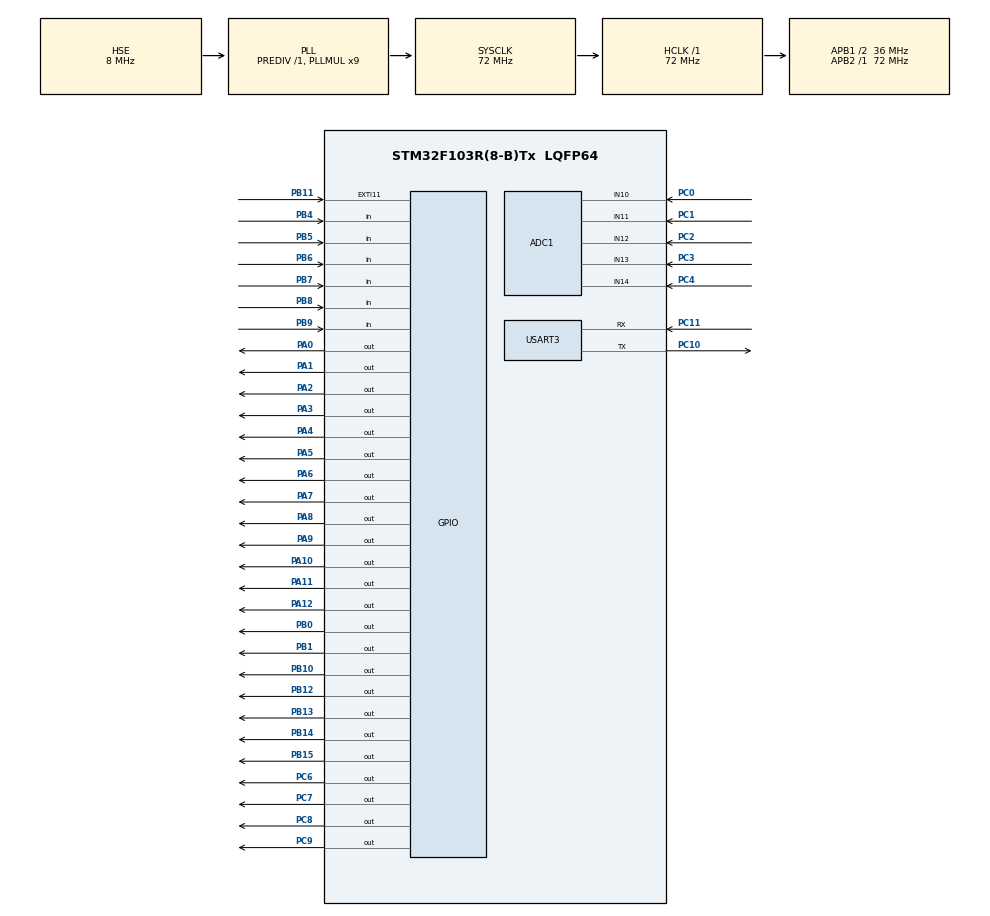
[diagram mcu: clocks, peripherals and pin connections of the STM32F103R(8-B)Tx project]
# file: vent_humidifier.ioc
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ADC1.Channel-0\#ChannelRegularConversion=ADC_CHANNEL_10
ADC1.DataAlign=ADC_DATAALIGN_RIGHT
ADC1.NbrOfConversionFlag=1
ADC1.Rank-0\#ChannelRegularConversion=1
ADC1.SamplingTime-0\#ChannelRegularConversion=ADC_SAMPLETIME_71CYCLES_5
ADC1.master=1
Mcu.Family=STM32F1
Mcu.Name=STM32F103R(8-B)Tx
Mcu.Package=LQFP64
NVIC.EXTI15_10_IRQn=true\:0\:0\:false\:false\:true\:true\:true
NVIC.PriorityGroup=NVIC_PRIORITYGROUP_4
NVIC.TIM2_IRQn=true\:0\:0\:false\:false\:true\:true\:true
NVIC.USART3_IRQn=true\:0\:0\:false\:false\:true\:true\:true
PA0-WKUP.Signal=GPIO_Output
PA1.Signal=GPIO_Output
PA10.Signal=GPIO_Output
PA11.Signal=GPIO_Output
PA12.Signal=GPIO_Output
PA13.Signal=SYS_JTMS-SWDIO
PA14.Signal=SYS_JTCK-SWCLK
PA2.Signal=GPIO_Output
PA3.Signal=GPIO_Output
PA4.Signal=GPIO_Output
PA5.Signal=GPIO_Output
PA6.Signal=GPIO_Output
PA7.Signal=GPIO_Output
PA8.Signal=GPIO_Output
PA9.Signal=GPIO_Output
PB0.Signal=GPIO_Output
PB1.Signal=GPIO_Output
PB10.Signal=GPIO_Output
PB11.GPIO_ModeDefaultEXTI=GPIO_MODE_IT_RISING
PB11.Signal=GPXTI11
PB12.Signal=GPIO_Output
PB13.Signal=GPIO_Output
PB14.Signal=GPIO_Output
PB15.Signal=GPIO_Output
PB3.Signal=SYS_JTDO-TRACESWO
PB4.Signal=GPIO_Input
PB5.Signal=GPIO_Input
PB6.Signal=GPIO_Input
PB7.Signal=GPIO_Input
PB8.Signal=GPIO_Input
PB9.Signal=GPIO_Input
PC0.Signal=ADCx_IN10
PC1.Signal=ADCx_IN11
PC10.Mode=Asynchronous
PC10.Signal=USART3_TX
PC11.Mode=Asynchronous
PC11.Signal=USART3_RX
PC2.Signal=ADCx_IN12
PC3.Signal=ADCx_IN13
PC4.Signal=ADCx_IN14
PC6.Signal=GPIO_Output
PC7.Signal=GPIO_Output
PC8.Signal=GPIO_Output
PC9.Signal=GPIO_Output
PD0-OSC_IN.Mode=HSE-External-Oscillator
PD0-OSC_IN.Signal=RCC_OSC_IN
PD1-OSC_OUT.Mode=HSE-External-Oscillator
PD1-OSC_OUT.Signal=RCC_OSC_OUT
ProjectManager.HeapSize=0x200
ProjectManager.StackSize=0x400
ProjectManager.TargetToolchain=STM32CubeIDE
RCC.ADCPresc=RCC_ADCPCLK2_DIV6
RCC.AHBFreq_Value=72000000
RCC.APB1CLKDivider=RCC_HCLK_DIV2
RCC.APB1Freq_Value=36000000
RCC.APB1TimFreq_Value=72000000
RCC.APB2Freq_Value=72000000
RCC.APB2TimFreq_Value=72000000
RCC.HCLKFreq_Value=72000000
RCC.PLLMUL=RCC_PLL_MUL9
RCC.PLLSourceVirtual=RCC_PLLSOURCE_HSE
RCC.SYSCLKFreq_VALUE=72000000
RCC.SYSCLKSource=RCC_SYSCLKSOURCE_PLLCLK
RCC.USBFreq_Value=72000000
SH.ADCx_IN10.0=ADC1_IN10,IN10
SH.ADCx_IN11.0=ADC1_IN11,IN11
SH.ADCx_IN12.0=ADC1_IN12,IN12
SH.ADCx_IN13.0=ADC1_IN13,IN13
SH.ADCx_IN14.0=ADC1_IN14,IN14
TIM2.AutoReloadPreload=TIM_AUTORELOAD_PRELOAD_ENABLE
TIM2.Period=1000
TIM2.Prescaler=71
USART3.VirtualMode=VM_ASYNC
VP_RTC_VS_RTC_Activate.Mode=RTC_Enabled
VP_SYS_VS_ND.Mode=No_Debug
VP_TIM2_VS_ClockSourceINT.Mode=Internal
board=custom

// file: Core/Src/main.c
/* USER CODE BEGIN Header */
/**
  ******************************************************************************
  * @file           : main.c
  * @brief          : Main program body
  ******************************************************************************
  * @attention
  *
  * <h2><center>&copy; Copyright (c) 2021 STMicroelectronics.
  * All rights reserved.</center></h2>
  *
  * This software component is licensed by ST under BSD 3-Clause license,
  * the "License"; You may not use this file except in compliance with the
  * License. You may obtain a copy of the License at:
  *                        opensource.org/licenses/BSD-3-Clause
  *
  ******************************************************************************
  */
/* USER CODE END Header */
#include "main.h"

/* USER CODE BEGIN Includes */
#include "stdint.h"
#include "stdio.h"
#include "string.h"
#include "project_defines.h"
#include "MT_display_7_segmentos.h"
#include "temperature_measurement.h"
#include "display_interface.h"
#include "vent_humidifier.h"
/* USER CODE END Includes */

ADC_HandleTypeDef hadc1;

RTC_HandleTypeDef hrtc;

TIM_HandleTypeDef htim2;

UART_HandleTypeDef huart3;

/* USER CODE BEGIN PV */

ADC_ChannelConfTypeDef sConfig = {0};

float my_kp = 0.0;
float my_ki = 0.0;
float my_kd = 0.0;
float my_setpoint = 0.0;
float wire_setpoint = 0.0;

uint8_t uart_tx_buffer[UART_TX_BUFFER_SIZE];
volatile uint8_t uart_rx_buffer[UART_RX_BUFFER_SIZE];
volatile uint8_t uart_rx_individual_buffer;

/* USER CODE END PV */

void SystemClock_Config(void);
static void MX_GPIO_Init(void);
static void MX_ADC1_Init(void);
static void MX_RTC_Init(void);
static void MX_USART3_UART_Init(void);
static void MX_TIM2_Init(void);

int main(void)
{

  /* MCU Configuration--------------------------------------------------------*/

  /* Reset of all peripherals, Initializes the Flash interface and the Systick. */
  HAL_Init();

  /* Configure the system clock */
  SystemClock_Config();

  /* Initialize all configured peripherals */
  MX_GPIO_Init();
  MX_ADC1_Init();
  MX_RTC_Init();
  MX_USART3_UART_Init();
  MX_TIM2_Init();
  /* USER CODE BEGIN 2 */
  __disable_irq();
  System_Initialize();
  HAL_UART_Receive_IT(&huart3, (uint8_t *)&uart_rx_individual_buffer, 1);
  __enable_irq();

  /* USER CODE END 2 */

  /* Infinite loop */
  /* USER CODE BEGIN WHILE */
  while (1)
  {
	  System_Sequence();

    /* USER CODE END WHILE */

  }
}

void SystemClock_Config(void)
{
  RCC_OscInitTypeDef RCC_OscInitStruct = {0};
  RCC_ClkInitTypeDef RCC_ClkInitStruct = {0};
  RCC_PeriphCLKInitTypeDef PeriphClkInit = {0};

  /** Initializes the RCC Oscillators according to the specified parameters
  * in the RCC_OscInitTypeDef structure.
  */
  RCC_OscInitStruct.OscillatorType = RCC_OSCILLATORTYPE_LSI|RCC_OSCILLATORTYPE_HSE;
  RCC_OscInitStruct.HSEState = RCC_HSE_ON;
  RCC_OscInitStruct.HSEPredivValue = RCC_HSE_PREDIV_DIV1;
  RCC_OscInitStruct.HSIState = RCC_HSI_ON;
  RCC_OscInitStruct.LSIState = RCC_LSI_ON;
  RCC_OscInitStruct.PLL.PLLState = RCC_PLL_ON;
  RCC_OscInitStruct.PLL.PLLSource = RCC_PLLSOURCE_HSE;
  RCC_OscInitStruct.PLL.PLLMUL = RCC_PLL_MUL9;
  if (HAL_RCC_OscConfig(&RCC_OscInitStruct) != HAL_OK)
  {
    Error_Handler();
  }
  /** Initializes the CPU, AHB and APB buses clocks
  */
  RCC_ClkInitStruct.ClockType = RCC_CLOCKTYPE_HCLK|RCC_CLOCKTYPE_SYSCLK
                              |RCC_CLOCKTYPE_PCLK1|RCC_CLOCKTYPE_PCLK2;
  RCC_ClkInitStruct.SYSCLKSource = RCC_SYSCLKSOURCE_PLLCLK;
  RCC_ClkInitStruct.AHBCLKDivider = RCC_SYSCLK_DIV1;
  RCC_ClkInitStruct.APB1CLKDivider = RCC_HCLK_DIV2;
  RCC_ClkInitStruct.APB2CLKDivider = RCC_HCLK_DIV1;

  if (HAL_RCC_ClockConfig(&RCC_ClkInitStruct, FLASH_LATENCY_2) != HAL_OK)
  {
    Error_Handler();
  }
  PeriphClkInit.PeriphClockSelection = RCC_PERIPHCLK_RTC|RCC_PERIPHCLK_ADC;
  PeriphClkInit.RTCClockSelection = RCC_RTCCLKSOURCE_LSI;
  PeriphClkInit.AdcClockSelection = RCC_ADCPCLK2_DIV6;
  if (HAL_RCCEx_PeriphCLKConfig(&PeriphClkInit) != HAL_OK)
  {
    Error_Handler();
  }
}

static void MX_ADC1_Init(void)
{

  //ADC_ChannelConfTypeDef sConfig = {0};

  /** Common config
  */
  hadc1.Instance = ADC1;
  hadc1.Init.ScanConvMode = ADC_SCAN_DISABLE;
  hadc1.Init.ContinuousConvMode = DISABLE;
  hadc1.Init.DiscontinuousConvMode = DISABLE;
  hadc1.Init.ExternalTrigConv = ADC_SOFTWARE_START;
  hadc1.Init.DataAlign = ADC_DATAALIGN_RIGHT;
  hadc1.Init.NbrOfConversion = 1;
  if (HAL_ADC_Init(&hadc1) != HAL_OK)
  {
    Error_Handler();
  }
  /** Configure Regular Channel
  */
  sConfig.Channel = ADC_CHANNEL_10;
  sConfig.Rank = ADC_REGULAR_RANK_1;
  sConfig.SamplingTime = ADC_SAMPLETIME_71CYCLES_5;
  if (HAL_ADC_ConfigChannel(&hadc1, &sConfig) != HAL_OK)
  {
    Error_Handler();
  }

}

static void MX_RTC_Init(void)
{

  /** Initialize RTC Only
  */
  hrtc.Instance = RTC;
  hrtc.Init.AsynchPrediv = RTC_AUTO_1_SECOND;
  hrtc.Init.OutPut = RTC_OUTPUTSOURCE_ALARM;
  if (HAL_RTC_Init(&hrtc) != HAL_OK)
  {
    Error_Handler();
  }

}

static void MX_TIM2_Init(void)
{

  TIM_ClockConfigTypeDef sClockSourceConfig = {0};
  TIM_MasterConfigTypeDef sMasterConfig = {0};

  htim2.Instance = TIM2;
  htim2.Init.Prescaler = 71;
  htim2.Init.CounterMode = TIM_COUNTERMODE_UP;
  htim2.Init.Period = 1000;
  htim2.Init.ClockDivision = TIM_CLOCKDIVISION_DIV1;
  htim2.Init.AutoReloadPreload = TIM_AUTORELOAD_PRELOAD_ENABLE;
  if (HAL_TIM_Base_Init(&htim2) != HAL_OK)
  {
    Error_Handler();
  }
  sClockSourceConfig.ClockSource = TIM_CLOCKSOURCE_INTERNAL;
  if (HAL_TIM_ConfigClockSource(&htim2, &sClockSourceConfig) != HAL_OK)
  {
    Error_Handler();
  }
  sMasterConfig.MasterOutputTrigger = TIM_TRGO_RESET;
  sMasterConfig.MasterSlaveMode = TIM_MASTERSLAVEMODE_DISABLE;
  if (HAL_TIMEx_MasterConfigSynchronization(&htim2, &sMasterConfig) != HAL_OK)
  {
    Error_Handler();
  }

}

static void MX_USART3_UART_Init(void)
{

  huart3.Instance = USART3;
  huart3.Init.BaudRate = 115200;
  huart3.Init.WordLength = UART_WORDLENGTH_8B;
  huart3.Init.StopBits = UART_STOPBITS_1;
  huart3.Init.Parity = UART_PARITY_NONE;
  huart3.Init.Mode = UART_MODE_TX_RX;
  huart3.Init.HwFlowCtl = UART_HWCONTROL_NONE;
  huart3.Init.OverSampling = UART_OVERSAMPLING_16;
  if (HAL_UART_Init(&huart3) != HAL_OK)
  {
    Error_Handler();
  }

}

static void MX_GPIO_Init(void)
{
  GPIO_InitTypeDef GPIO_InitStruct = {0};

  /* GPIO Ports Clock Enable */
  __HAL_RCC_GPIOD_CLK_ENABLE();
  __HAL_RCC_GPIOC_CLK_ENABLE();
  __HAL_RCC_GPIOA_CLK_ENABLE();
  __HAL_RCC_GPIOB_CLK_ENABLE();

  /*Configure GPIO pin Output Level */
  HAL_GPIO_WritePin(GPIOA, GPIO_PIN_0|GPIO_PIN_1|GPIO_PIN_2|GPIO_PIN_3
                          |GPIO_PIN_4|GPIO_PIN_5|GPIO_PIN_6|GPIO_PIN_7
                          |GPIO_PIN_8|GPIO_PIN_9|GPIO_PIN_10|GPIO_PIN_11
                          |GPIO_PIN_12, GPIO_PIN_RESET);

  /*Configure GPIO pin Output Level */
  HAL_GPIO_WritePin(GPIOB, GPIO_PIN_0|GPIO_PIN_1|GPIO_PIN_10|GPIO_PIN_12
                          |GPIO_PIN_13|GPIO_PIN_14|GPIO_PIN_15, GPIO_PIN_RESET);

  /*Configure GPIO pin Output Level */
  HAL_GPIO_WritePin(GPIOC, GPIO_PIN_6|GPIO_PIN_7|GPIO_PIN_8|GPIO_PIN_9, GPIO_PIN_RESET);

  /*Configure GPIO pins : PA0 PA1 PA2 PA3
                           PA4 PA5 PA6 PA7
                           PA8 PA9 PA10 PA11
                           PA12 */
  GPIO_InitStruct.Pin = GPIO_PIN_0|GPIO_PIN_1|GPIO_PIN_2|GPIO_PIN_3
                          |GPIO_PIN_4|GPIO_PIN_5|GPIO_PIN_6|GPIO_PIN_7
                          |GPIO_PIN_8|GPIO_PIN_9|GPIO_PIN_10|GPIO_PIN_11
                          |GPIO_PIN_12;
  GPIO_InitStruct.Mode = GPIO_MODE_OUTPUT_PP;
  GPIO_InitStruct.Pull = GPIO_NOPULL;
  GPIO_InitStruct.Speed = GPIO_SPEED_FREQ_LOW;
  HAL_GPIO_Init(GPIOA, &GPIO_InitStruct);

  /*Configure GPIO pins : PB0 PB1 PB10 PB12
                           PB13 PB14 PB15 */
  GPIO_InitStruct.Pin = GPIO_PIN_0|GPIO_PIN_1|GPIO_PIN_10|GPIO_PIN_12
                          |GPIO_PIN_13|GPIO_PIN_14|GPIO_PIN_15;
  GPIO_InitStruct.Mode = GPIO_MODE_OUTPUT_PP;
  GPIO_InitStruct.Pull = GPIO_NOPULL;
  GPIO_InitStruct.Speed = GPIO_SPEED_FREQ_LOW;
  HAL_GPIO_Init(GPIOB, &GPIO_InitStruct);

  /*Configure GPIO pin : PB11 */
  GPIO_InitStruct.Pin = GPIO_PIN_11;
  GPIO_InitStruct.Mode = GPIO_MODE_IT_RISING;
  GPIO_InitStruct.Pull = GPIO_NOPULL;
  HAL_GPIO_Init(GPIOB, &GPIO_InitStruct);

  /*Configure GPIO pins : PC6 PC7 PC8 PC9 */
  GPIO_InitStruct.Pin = GPIO_PIN_6|GPIO_PIN_7|GPIO_PIN_8|GPIO_PIN_9;
  GPIO_InitStruct.Mode = GPIO_MODE_OUTPUT_PP;
  GPIO_InitStruct.Pull = GPIO_NOPULL;
  GPIO_InitStruct.Speed = GPIO_SPEED_FREQ_LOW;
  HAL_GPIO_Init(GPIOC, &GPIO_InitStruct);

  /*Configure GPIO pins : PB4 PB5 PB6 PB7
                           PB8 PB9 */
  GPIO_InitStruct.Pin = GPIO_PIN_4|GPIO_PIN_5|GPIO_PIN_6|GPIO_PIN_7
                          |GPIO_PIN_8|GPIO_PIN_9;
  GPIO_InitStruct.Mode = GPIO_MODE_INPUT;
  GPIO_InitStruct.Pull = GPIO_NOPULL;
  HAL_GPIO_Init(GPIOB, &GPIO_InitStruct);

  /* EXTI interrupt init*/
  HAL_NVIC_SetPriority(EXTI15_10_IRQn, 0, 0);
  HAL_NVIC_EnableIRQ(EXTI15_10_IRQn);

}

/* USER CODE BEGIN 4 */
void HAL_TIM_PeriodElapsedCallback(TIM_HandleTypeDef *htim){

	static uint32_t new_measure_count_1ms = 0;
	static uint32_t display_update_count_1ms = 0;
	static uint32_t check_rtd_input_volt_count_1ms = 0;
	static uint32_t one_second_elapsed_counter_1ms = 0;
	static uint32_t button_scan_counter_1ms = 0;
	static uint32_t pwm_step_time_counter_1ms = 0;
	static uint32_t check_heater_plate_temp_count_1ms = 0;
	static uint32_t check_heater_plate_circuit_count_ms = 0;
	static uint32_t check_heater_wire_circuit_count_ms = 0;
	static uint32_t alarm_update_counter_ms = 0;

	/* Indicate that 1 ms has elapsed */
	system_flags |= (1 << ONE_MILLISECOND_ELAPSED_FLAG);

	/*Manage display enables every  1ms */
	Display_Gestionar_Habilitadores();

	/* Measure current feedback every 1 ms */
	system_flags |= (1 << HEATER_PLATE_FEEDBACK_FLAG);

	/* Update alarm every 100 ms */
	alarm_update_counter_ms++;
	if(alarm_update_counter_ms >= ALARM_UPDATE_PERIOD_MS){
		alarm_update_counter_ms = 0;
		system_flags |= (1 << ALARM_UPDATE_FLAG);
	}

	/* Verify that the heater plate circuit is working properly every 5 second */
	check_heater_plate_circuit_count_ms++;
	if(check_heater_plate_circuit_count_ms >= CHECK_HEATER_PLATE_CIRCUIT_PERIOD_MS){
		check_heater_plate_circuit_count_ms = 0;
		system_flags |= (1 << CHECK_HEATER_PLATE_CIRCUIT_FLAG);
	}

	/* Measure temperature every 100 ms */
	new_measure_count_1ms++;
	if(new_measure_count_1ms >= TEMP_SAMPLE_PERIOD_MS){
		new_measure_count_1ms = 0;
		system_flags |= (1 << NEW_MEASURE_FLAG);
	}

	/* Verify that the heater wire circuit is working properly every 10 second */
	check_heater_wire_circuit_count_ms++;
	if(check_heater_wire_circuit_count_ms >= CHECK_HEATER_WIRE_CIRCUIT_PERIOD_MS){
		check_heater_wire_circuit_count_ms = 0;
		system_flags |= (1 << CHECK_HEATER_WIRE_CIRCUIT_FLAG);
	}

	/* Scan buttons every 10 ms */
	button_scan_counter_1ms++;
	if(button_scan_counter_1ms >= BUTTON_SCAN_PERIOD_MS){
		button_scan_counter_1ms = 0;
		G1_Button_Scan();
		system_flags |= (1 << BUTTON_READ_FLAG);
	}

	/* Update PWM signal for Wires */
	pwm_step_time_counter_1ms++;
	if(pwm_step_time_counter_1ms >= PWM_STEP_TIME_MS){
		pwm_step_time_counter_1ms = 0;
		Heater_Wire_01_Manager();
		Heater_Wire_02_Manager();
	}

	/* Update display every 100 ms */
	display_update_count_1ms++;
	if(display_update_count_1ms >= DISPLAY_UPDATE_PERIOD_MS){
		display_update_count_1ms = 0;
		system_flags |= (1 << DISPLAY_UPDATE_FLAG);
	}

	/* Measure the heater plate temperature every 1 second */
	check_heater_plate_temp_count_1ms++;
	if(check_heater_plate_temp_count_1ms >= HEATER_PLATE_TEMP_MEASURE_PERIOD_MS){
		check_heater_plate_temp_count_1ms = 0;
		system_flags |= (1 << CHECK_HEATER_PLATE_TEMP_FLAG);
	}

	/* Check RTD input voltage every 2 seconds */
	check_rtd_input_volt_count_1ms++;
	if(check_rtd_input_volt_count_1ms >= RTD_INPUT_VOLTAGE_MEASURE_PERIOD_MS){
		check_rtd_input_volt_count_1ms = 0;
		system_flags |= (1 << CHECK_RTD_INPUT_VOLTAGE_FLAG);
	}

	/* Indicate if one second has elapsed */
	one_second_elapsed_counter_1ms++;
	if(one_second_elapsed_counter_1ms >= 1000){
		one_second_elapsed_counter_1ms = 0;
		system_flags |= (1 << ONE_SECOND_ELAPSED_FLAG);
	}

}

void HAL_GPIO_EXTI_Callback(uint16_t GPIO_Pin){
	/* Manage the power output for the heater plate */
	Heater_Plate_Manager();
}

void HAL_UART_RxCpltCallback(UART_HandleTypeDef *huart){

	char command = '\0';
	static float factor = 1.0;
	static float acumulador = 0;
	static uint8_t fracc = 0;

	/* Restart the USART Rx interrupt */
	HAL_UART_Receive_IT(&huart3, (uint8_t *)&uart_rx_individual_buffer, 1);

	/* Read the character received */
	command = uart_rx_individual_buffer;

	if(command == '.'){
	    fracc = 1;
	}else if(command == 'p'){
		my_kp = acumulador;
	    acumulador = 0;
	    factor = 1.0;
	    fracc = 0,
	    system_flags |= (1 << COMMAND_RECEIVED_DATA_FLAG);
	}else if(command == 'i'){
	     my_ki = acumulador;
	     acumulador = 0;
	     factor = 1.0;
	     fracc = 0,
	     system_flags |= (1 << COMMAND_RECEIVED_DATA_FLAG);
	 }else if(command == 'd'){
	     my_kd = acumulador;
	     acumulador = 0;
	     factor = 1.0;
	     fracc = 0,
	     system_flags |= (1 << COMMAND_RECEIVED_DATA_FLAG);
	 }else if(command == 's'){
	     my_setpoint = acumulador;
	     acumulador = 0;
	     factor = 1.0;
	     fracc = 0,
	     system_flags |= (1 << COMMAND_RECEIVED_DATA_FLAG);
	 }else if(command == 'w'){
	     wire_setpoint = acumulador;
	     acumulador = 0;
	     factor = 1.0;
	     fracc = 0,
	     system_flags |= (1 << COMMAND_RECEIVED_DATA_FLAG);
	 }else{
	     if(fracc){
	        factor /= 10.0;
	        acumulador = acumulador + ((command - 48)*factor);
	     }else{
	        acumulador = (acumulador * 10) + ((command - 48)*factor);
	     }

	  }

}

/* USER CODE END 4 */

void Error_Handler(void)
{
  __disable_irq();
  while (1)
  {
  }
}

/************************ (C) COPYRIGHT STMicroelectronics *****END OF FILE****/
